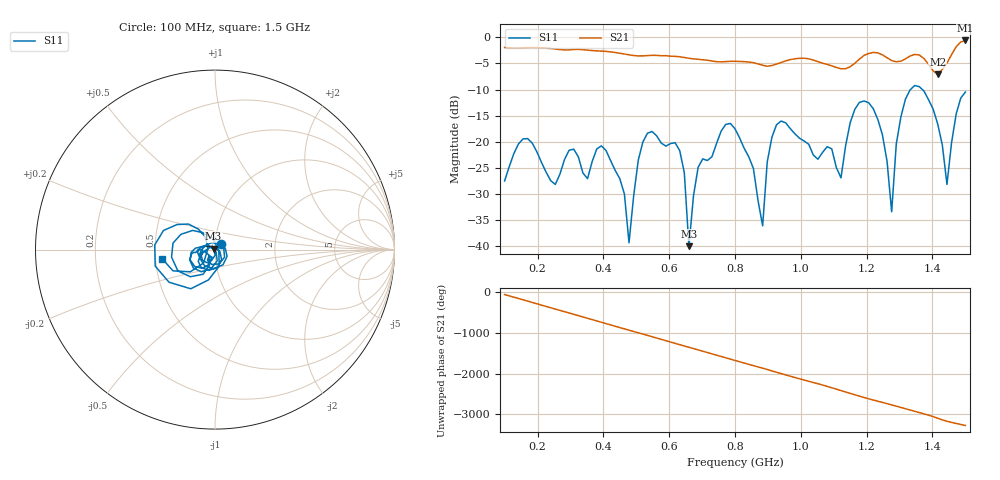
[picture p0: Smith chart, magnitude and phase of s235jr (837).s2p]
! NanoVNA-App
! Date: 2025-09-25 15:10:41
! Start: 100MHz Stop: 1,5GHz Points: 101
! S-Parameter data: F S11 S21 S12 S22
# Hz S RI R 50
!  Frequency  S11_Real  S11_Imag  S21_Real  S21_Imag  S12_Real  S12_Imag  S22_Real  S22_Imag
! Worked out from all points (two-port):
!   101 points, 100 MHz to 1.5 GHz, reference 50 ohm
!   highest |S21| = -0.62 dB at 1.5 GHz (marker M1); lowest = -7.1 dB at 1.416 GHz (marker M2)
!   |S21| within 3 dB of the highest: start of sweep to 603.2 MHz; 1.189 GHz to 1.254 GHz (65.14 MHz wide, 5.33 % of centre) (the widest 2 of 4)
!   lowest |S11| = -39.9 dB at 660 MHz (marker M3), VSWR 1.02, Z = 49.2 + j0.579 ohm
!   |S11| at or under -10 dB: start of sweep to 1.333 GHz; 1.369 GHz to end of sweep
!   S12 and S22 are empty: the file has one direction only
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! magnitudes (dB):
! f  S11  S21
! 100 MHz  -27.5  -2.0
! 156 MHz  -19.4  -2.0
! 338 MHz  -26.0  -2.4
! 408 MHz  -21.6  -2.7
! 478 MHz  -39.3  -3.4
! 520 MHz  -20.0  -3.6
! 576 MHz  -20.2  -3.5
! 632 MHz  -21.7  -3.7
! 660 MHz  -39.9  -4.0
! 688 MHz  -24.9  -4.2
! 800 MHz  -17.5  -4.6
! 884 MHz  -36.1  -5.4
! 926 MHz  -16.7  -5.1
! 1.038 GHz  -22.5  -4.4
! 1.122 GHz  -26.9  -6.0
! 1.206 GHz  -12.5  -3.1
! 1.276 GHz  -33.4  -4.5
! 1.29 GHz  -20.4  -4.7
! 1.332 GHz  -10.1  -3.6
! 1.416 GHz  -16.6  -7.1
! 1.444 GHz  -28.1  -4.9
! 1.5 GHz  -10.5  -0.6
